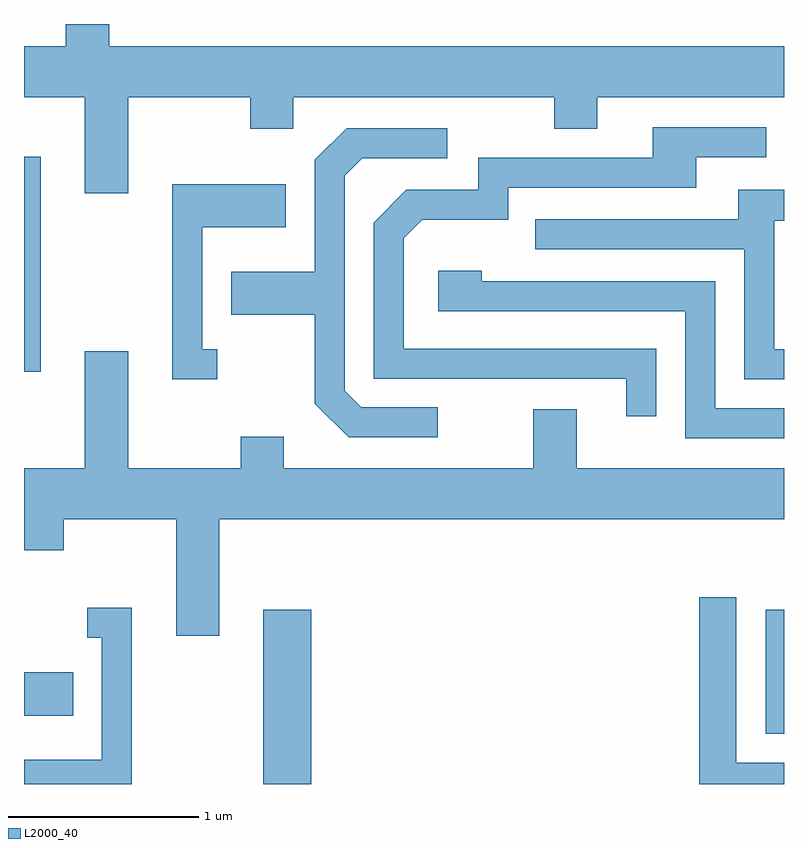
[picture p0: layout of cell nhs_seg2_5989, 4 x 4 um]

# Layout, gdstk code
import gdstk
lib = gdstk.Library(unit=1e-6, precision=1e-09)
def R(c, l, rs):  # rectangles x0, y0, x1, y1
    for r in rs: c.add(gdstk.rectangle(r[:2], r[2:], *l))
def P(c, l, *ps):  # polygons
    for p in ps: c.add(gdstk.Polygon(p, *l))
L2000_40 = (2000, 40)

nhs_seg2_5989 = lib.new_cell('nhs_seg2_5989')
R(nhs_seg2_5989, L2000_40, [(362.871,1055.802,363.124,1056.719), (365.516,1056.066,365.611,1056.719), (361.611,1056.161,361.869,1056.389), (361.611,1057.971,361.699,1059.104)])
P(nhs_seg2_5989, L2000_40, [(362.159,1059.416),(362.801,1059.416),(362.801,1059.251),(363.029,1059.251),(363.029,1059.416),(364.401,1059.416),(364.401,1059.251),(364.629,1059.251),(364.629,1059.416),(365.611,1059.416),(365.611,1059.684),(362.059,1059.684),(362.059,1059.802),(361.831,1059.802),(361.831,1059.684),(361.611,1059.684),(361.611,1059.416),(361.931,1059.416),(361.931,1058.911),(362.159,1058.911)],
  [(364.939,1058.094),(363.609,1058.094),(363.609,1058.674),(363.707,1058.771),(364.159,1058.771),(364.159,1058.941),(365.149,1058.941),(365.149,1059.101),(365.518,1059.101),(365.518,1059.259),(364.921,1059.259),(364.921,1059.099),(364.001,1059.099),(364.001,1058.929),(363.624,1058.929),(363.451,1058.757),(363.451,1057.936),(364.781,1057.936),(364.781,1057.738),(364.939,1057.738)],
  [(363.788,1057.784),(363.387,1057.784),(363.299,1057.872),(363.299,1059.004),(363.392,1059.096),(363.838,1059.096),(363.838,1059.254),(363.309,1059.254),(363.141,1059.087),(363.141,1058.499),(362.701,1058.499),(362.701,1058.271),(363.141,1058.271),(363.141,1057.804),(363.319,1057.626),(363.788,1057.626)],
  [(362.628,1058.089),(362.549,1058.089),(362.549,1058.731),(362.989,1058.731),(362.989,1058.959),(362.391,1058.959),(362.391,1057.931),(362.628,1057.931)],
  [(365.611,1058.089),(365.559,1058.089),(365.559,1058.766),(365.611,1058.766),(365.611,1058.929),(365.371,1058.929),(365.371,1058.774),(364.303,1058.774),(364.303,1058.616),(365.401,1058.616),(365.401,1057.931),(365.611,1057.931)],
  [(365.611,1057.779),(365.249,1057.779),(365.249,1058.449),(364.019,1058.449),(364.019,1058.504),(363.791,1058.504),(363.791,1058.291),(365.091,1058.291),(365.091,1057.621),(365.611,1057.621)],
  [(362.639,1057.196),(365.611,1057.196),(365.611,1057.464),(364.519,1057.464),(364.519,1057.774),(364.291,1057.774),(364.291,1057.464),(362.979,1057.464),(362.979,1057.629),(362.751,1057.629),(362.751,1057.464),(362.159,1057.464),(362.159,1058.079),(361.931,1058.079),(361.931,1057.464),(361.611,1057.464),(361.611,1057.031),(361.819,1057.031),(361.819,1057.196),(362.411,1057.196),(362.411,1056.581),(362.639,1056.581)],
  [(365.611,1055.914),(365.359,1055.914),(365.359,1056.784),(365.166,1056.784),(365.166,1055.802),(365.611,1055.802)],
  [(362.179,1056.729),(361.943,1056.729),(361.943,1056.571),(362.021,1056.571),(362.021,1055.929),(361.611,1055.929),(361.611,1055.802),(362.179,1055.802)])

lib.write_gds('nhs_seg2_5989.gds')
